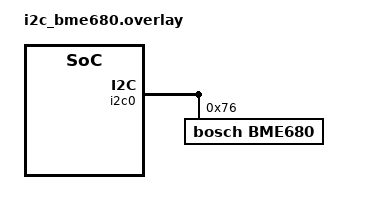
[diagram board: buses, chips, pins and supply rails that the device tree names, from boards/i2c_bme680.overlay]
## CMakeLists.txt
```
cmake_minimum_required(VERSION 3.20.0)

include(${CMAKE_CURRENT_SOURCE_DIR}/../../common/pstate_dt.cmake)

# ==================== ZEPHYR PROJECT SETUP ==================
find_package(Zephyr REQUIRED HINTS $ENV{ZEPHYR_BASE})
project(alif_i2c)

# ==================== TEST CONFIGURATION ============
# Tests are now controlled via Kconfig (CONFIG_I2C_*_TESTS)

# ==================== SOURCE FILE DEFINITIONS ===============
set(I2C_CORE_SOURCES
  src/test_i2c.c
)

set(I2C_PERFORMANCE_SOURCES
  src/test_i2c_performance.c
)

set(I2C_BOUNDARY_SOURCES
  src/test_i2c_boundary.c
)

set(I2C_HARDWARE_AWARE_SOURCES
  src/test_i2c_hardware_aware.c
)

set(I2C_FAULT_INJECTION_SOURCES
  src/test_i2c_fault_injection.c
)

set(I2C_STRESS_SOURCES
  src/test_i2c_stress.c
)

set(I2C_SENSOR_SOURCES
  src/test_i2c_sensor.c
)
# ==================== CORE TEST BUILD =======================
# Core tests require both i2c_controller and i2c_target DT aliases.
# Sensor tests are self-contained and only need i2c_controller.
if(NOT CONFIG_I2C_SENSOR_TESTS)
  target_sources(app PRIVATE ${I2C_CORE_SOURCES})
endif()

target_sources_ifdef(CONFIG_ALIF_CPU_FREQ_PSTATE app PRIVATE
		     ../../common/pstate_main.c)
# ==================== CONDITIONAL TEST SUITES ===============
# Include test suites based on Kconfig settings
if(CONFIG_I2C_PERFORMANCE_TESTS)
  target_sources(app PRIVATE ${I2C_PERFORMANCE_SOURCES})
endif()

if(CONFIG_I2C_BOUNDARY_TESTS)
  target_sources(app PRIVATE ${I2C_BOUNDARY_SOURCES})
endif()

if(CONFIG_I2C_HARDWARE_AWARE_TESTS)
  target_sources(app PRIVATE ${I2C_HARDWARE_AWARE_SOURCES})
endif()

if(CONFIG_I2C_FAULT_INJECTION_TESTS)
  target_sources(app PRIVATE ${I2C_FAULT_INJECTION_SOURCES})
endif()

if(CONFIG_I2C_STRESS_TESTS OR CONFIG_I2C_ENHANCED_STRESS)
  target_sources(app PRIVATE ${I2C_STRESS_SOURCES})
endif()

if(CONFIG_I2C_SENSOR_TESTS)
  target_sources(app PRIVATE ${I2C_SENSOR_SOURCES})
endif()

# ==================== COMPILATION FLAGS ====================
# Enable additional diagnostics for debug builds
if(CMAKE_BUILD_TYPE STREQUAL "Debug")
  target_compile_options(app PRIVATE -Wall -Wextra -Werror)
endif()

# ==================== VALIDATION MESSAGES ====================
message(STATUS "  Test Type: I2C Driver Validation")
message(STATUS "  Hardware Overlay: ${DTC_OVERLAY_FILE}")

if(CONFIG_I2C_PERFORMANCE_TESTS)
  message(STATUS "  Enabled: Performance Tests")
endif()

if(CONFIG_I2C_BOUNDARY_TESTS)
  message(STATUS "  Enabled: Boundary Tests")
endif()

if(CONFIG_I2C_HARDWARE_AWARE_TESTS)
  message(STATUS "  Enabled: Hardware-Aware Tests")
endif()

if(CONFIG_I2C_FAULT_INJECTION_TESTS)
  message(STATUS "  Enabled: Fault Injection Tests")
endif()

if(CONFIG_I2C_STRESS_TESTS)
  message(STATUS "  Enabled: Basic Stress Tests")
endif()

if(CONFIG_I2C_ENHANCED_STRESS)
  message(STATUS "  Enabled: Enhanced Stress Tests")
endif()

if(CONFIG_I2C_SENSOR_TESTS)
  message(STATUS "  Enabled: Sensor Integration Tests")
endif()
```

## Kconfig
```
#Copyright Alif Semiconductor - All Rights Reserved.
#Use, distribution and modification of this code is permitted under the
#terms stated in the Alif Semiconductor Software License Agreement
#
#You should have received a copy of the Alif Semiconductor Software
#License Agreement with this file.If not, please write to:
#contact @alifsemi.com, or visit : https: // alifsemi.com/license

menu "Alif I2C test options"

#-- -- -- -- -- -- -- -- -- -- -- -- -- -- -- -- -- -- -- -- -- -- -- -- -- -- -- -- -- -- -- -- -- -- -- -- -- -
#Comprehensive test selection
#-- -- -- -- -- -- -- -- -- -- -- -- -- -- -- -- -- -- -- -- -- -- -- -- -- -- -- -- -- -- -- -- -- -- -- -- -- -
config I2C_ALL_TESTS
	bool "Enable all I2C test suites"
	select I2C_PERFORMANCE_TESTS
	select I2C_BOUNDARY_TESTS
	select I2C_HARDWARE_AWARE_TESTS
	select I2C_FAULT_INJECTION_TESTS
	select I2C_STRESS_TESTS
	help
		Enable all available I2C test suites for comprehensive validation.
		When enabled, this automatically selects all individual test configs
		including performance tests, boundary tests, hardware-aware tests,
		fault injection tests, and stress tests. BME680 sensor integration
		tests are excluded because they require external hardware.

#-- -- -- -- -- -- -- -- -- -- -- -- -- -- -- -- -- -- -- -- -- -- -- -- -- -- -- -- -- -- -- -- -- -- -- -- -- -
#Frequency selection for multi-frequency test execution
#-- -- -- -- -- -- -- -- -- -- -- -- -- -- -- -- -- -- -- -- -- -- -- -- -- -- -- -- -- -- -- -- -- -- -- -- -- -
config I2C_TEST_FREQ_STANDARD
	bool "Enable Standard speed (100kHz) tests"
	default y
	help
		Enable Standard mode (100 kHz) I2C frequency testing.

		When enabled, this includes Standard mode in multi-frequency test
		loops, allowing transfer-bearing tests to execute at this speed.
		Standard mode is the most widely supported I2C speed and
		should be enabled for comprehensive compatibility testing.

config I2C_TEST_FREQ_FAST
	bool "Enable Fast speed (400kHz) tests"
	default y
	help
		Enable Fast mode (400 kHz) I2C frequency testing.

		When enabled, this includes Fast mode in multi-frequency test
		loops, allowing transfer-bearing tests to execute at this speed.
		Fast mode provides higher throughput than Standard mode and is
		commonly used in applications requiring faster data transfer.

config I2C_TEST_FREQ_FAST_PLUS
	bool "Enable Fast Plus speed (1MHz) tests"
	default n
	help
		Include Fast Plus mode (1 MHz) in multi-frequency test loops.
		When enabled, transfer-bearing tests will execute at this speed.
		Boards/drivers can disable this if the hardware does not support
		1 MHz operation.

config I2C_TEST_FREQ_HIGH
	bool "Enable High speed (3.4MHz) tests"
	default n
	help
		Include High Speed mode (3.4 MHz) in multi-frequency test loops.
		When enabled, transfer-bearing tests will execute at this speed.
		Most hardware does not support 3.4 MHz; disable via extra_configs
		or board configuration if unsupported.

#-- -- -- -- -- -- -- -- -- -- -- -- -- -- -- -- -- -- -- -- -- -- -- -- -- -- -- -- -- -- -- -- -- -- -- -- -- -
#Stress testing options
#-- -- -- -- -- -- -- -- -- -- -- -- -- -- -- -- -- -- -- -- -- -- -- -- -- -- -- -- -- -- -- -- -- -- -- -- -- -
config I2C_STRESS_TESTS
	bool "Enable stress testing suite"
	help
		Enable basic stress testing with restart condition validation
		and callback integrity checks. This provides comprehensive stress
		validation without automatic error injection or enhanced timing
		validation. For complete stress testing with bug detection,
		enable I2C_ENHANCED_STRESS instead.

config I2C_ENHANCED_STRESS
	bool "Enable enhanced stress testing with bug detection"
	select I2C_ERROR_INJECTION
	help
		Enable configurable stress testing with timing validation,
		error injection, and comprehensive bug detection metrics.
		When enabled, this runs the enhanced stress test suite with
		automatic error injection enabled for robust validation.

config I2C_ERROR_INJECTION
	bool "Enable error injection during enhanced stress tests"
	default n
	help
		Enable deliberate timing perturbations during the enhanced
		stress suite. This symbol is auto-selected by
		CONFIG_I2C_ENHANCED_STRESS to preserve the current test
		behavior while removing Kconfig warnings for an undefined
		symbol.

config I2C_STRESS_LOOPS
	int "Number of stress test iterations"
	depends on I2C_ENHANCED_STRESS
	default 1000
	help
		Number of iterations for stress tests. Higher values provide
		more thorough validation but increase test duration.

config I2C_STRESS_TIMEOUT
	int "Stress test timeout in milliseconds"
	depends on I2C_ENHANCED_STRESS
	default 300
	help
		Maximum time allowed for stress test completion. Tests will
		fail if they exceed this timeout.

#-- -- -- -- -- -- -- -- -- -- -- -- -- -- -- -- -- -- -- -- -- -- -- -- -- -- -- -- -- -- -- -- -- -- -- -- -- -
#Individual test suite selection
#-- -- -- -- -- -- -- -- -- -- -- -- -- -- -- -- -- -- -- -- -- -- -- -- -- -- -- -- -- -- -- -- -- -- -- -- -- -
config I2C_PERFORMANCE_TESTS
	bool "Enable performance testing suite"
	default n
	help
		Enable performance tests that validate I2C throughput and
		latency at different bus speeds (standard, fast, fast-plus, high).
		When enabled, this runs the complete performance test suite with
		all speed configurations.

config I2C_BOUNDARY_TESTS
	bool "Enable boundary condition testing"
	default n
	help
		Enable boundary condition tests that validate edge cases,
		maximum sizes, and critical data patterns. When enabled,
		this runs FIFO, register configuration, timing, and data pattern
		boundary tests.

config I2C_HARDWARE_AWARE_TESTS
	bool "Enable hardware-specific testing"
	default n
	help
		Enable hardware-aware tests that validate platform-specific
		behavior and timing characteristics. When enabled, this runs
		interrupt handling, clock stretching, signal integrity, and DMA
		interaction tests.

config I2C_FAULT_INJECTION_TESTS
	bool "Enable fault injection testing"
	default n
	help
		Enable fault injection tests that validate error handling
		and recovery mechanisms under various failure conditions.
		When enabled, this runs the fault injection test suite.

		Note: This is independent from I2C_ENHANCED_STRESS.
		I2C_FAULT_INJECTION_TESTS focuses on specific fault scenarios,
		while I2C_ENHANCED_STRESS provides comprehensive stress testing.
#-- -- -- -- -- -- -- -- -- -- -- -- -- -- -- -- -- -- -- -- -- -- -- -- -- -- -- -- -- -- -- -- -- -- -- -- -- -
#Sensor integration tests (self-contained, do not need i2c_target)
#-- -- -- -- -- -- -- -- -- -- -- -- -- -- -- -- -- -- -- -- -- -- -- -- -- -- -- -- -- -- -- -- -- -- -- -- -- -
config I2C_SENSOR_TESTS
	bool "Enable I2C sensor integration tests"
	default n
	help
		Enable I2C sensor integration tests. The test suite
		auto-detects which sensors are present in the devicetree
		and runs tests for all of them. Add sensor-specific DT
		overlays to include particular sensors.sensor-only builds.
endmenu

rsource "../../common/Kconfig.pstate"

source "Kconfig.zephyr"
```

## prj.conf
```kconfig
# Copyright Alif Semiconductor - All Rights Reserved.
# Use, distribution and modification of this code is permitted under the
# terms stated in the Alif Semiconductor Software License Agreement
#
# You should have received a copy of the Alif Semiconductor Software
# License Agreement with this file. If not, please write to:
# contact@alifsemi.com, or visit: https://alifsemi.com/license


CONFIG_I2C_TARGET=y
CONFIG_I2C=y
CONFIG_ZTEST=y
CONFIG_LOG=n
CONFIG_ZTEST_STACK_SIZE=16384
CONFIG_STDOUT_CONSOLE=y
CONFIG_I2C_TARGET_BUFFER_MODE=n
CONFIG_POLL=y
```

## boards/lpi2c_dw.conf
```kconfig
# DesignWare I2C configuration for LPI2C1 tests
CONFIG_I2C_DW=y
CONFIG_I2C_DW_CLOCK_SPEED=160
```

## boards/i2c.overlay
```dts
/* Copyright Alif Semiconductor - All Rights Reserved.
 * Use, distribution and modification of this code is permitted under the
 * terms stated in the Alif Semiconductor Software License Agreement
 *
 * You should have received a copy of the Alif Semiconductor Software
 * License Agreement with this file. If not, please write to:
 * contact@alifsemi.com, or visit: https://alifsemi.com/license
 */

/* Base I2C validation overlay with default 100kHz clock
 * Configures dual I2C controllers for controller/target validation
 * Supports restart condition testing and comprehensive stress validation
 */

#include "pstate_common.overlay"

/ {
	aliases {
		i2c-controller = &i2c0;
		i2c-target = &i2c1;
	};
};

&i2c0 {
	status = "okay";
	/* Controller for restart condition validation */
};

&i2c1 {
	status = "okay";
	/* Target for target mode callback validation */
};
```

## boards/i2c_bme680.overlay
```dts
/* Copyright Alif Semiconductor - All Rights Reserved.
 * Use, distribution and modification of this code is permitted under the
 * terms stated in the Alif Semiconductor Software License Agreement
 *
 * You should have received a copy of the Alif Semiconductor Software
 * License Agreement with this file. If not, please write to:
 * contact@alifsemi.com, or visit: https://alifsemi.com/license
 */

/* BME680 sensor integration for I2C validation
 * Adds BME680 sensor to i2c0 instance at address 0x76
 * Used for sensor integration testing and validation
 */

&i2c0 {
	status = "okay";
	bme680@76 {
		compatible = "bosch,bme680";
		reg = <0x76>;
	};
};
```

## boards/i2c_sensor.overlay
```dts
/* Copyright Alif Semiconductor - All Rights Reserved.
 * Use, distribution and modification of this code is permitted under the
 * terms stated in the Alif Semiconductor Software License Agreement
 *
 * You should have received a copy of the Alif Semiconductor Software
 * License Agreement with this file. If not, please write to:
 * contact@alifsemi.com, or visit: https://alifsemi.com/license
 */

/* BME680 sensor integration for I2C validation
 * Adds BME680 sensor to i2c0 instance at address 0x76
 * Used for sensor integration testing and validation
 */

#include "pstate_common.overlay"

&i2c0 {
	status = "okay";
	bme680@76 {
		compatible = "bosch,bme680";
		reg = <0x76>;
	};
};
```

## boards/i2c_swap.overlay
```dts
/* Copyright Alif Semiconductor - All Rights Reserved.
 * Use, distribution and modification of this code is permitted under the
 * terms stated in the Alif Semiconductor Software License Agreement
 *
 * You should have received a copy of the Alif Semiconductor Software
 * License Agreement with this file. If not, please write to:
 * contact@alifsemi.com, or visit: https://alifsemi.com/license
 */

/* I2C controller swap overlay for validation testing
 * Swaps controller/target assignments: i2c1 becomes controller, i2c0 becomes target
 * Used for cross-validation and controller role testing
 */

/ {
	aliases {
		i2c-controller = &i2c1;
		i2c-target = &i2c0;
	};
};

&i2c0 {
	status = "okay";
	/* Target in swapped configuration */
};

&i2c1 {
	status = "okay";
	/* Controller in swapped configuration */
};
```

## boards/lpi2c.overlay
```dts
/* Copyright Alif Semiconductor - All Rights Reserved.
 * Use, distribution and modification of this code is permitted under the
 * terms stated in the Alif Semiconductor Software License Agreement
 *
 * You should have received a copy of the Alif Semiconductor Software
 * License Agreement with this file. If not, please write to:
 * contact@alifsemi.com, or visit: https://alifsemi.com/license
 */

/* LPI2C controller validation overlay
 * Configures LPI2C1 as controller and I2C0 as target
 * Used for LPI2C-specific validation and testing
 */

/ {
	aliases {
		i2c-controller = &lpi2c1;
		i2c-target = &i2c0;
	};
};

&i2c0 {
	status = "okay";
	/* Target for LPI2C validation */
};

&lpi2c1 {
	status = "okay";
	/* LPI2C controller */
};
```

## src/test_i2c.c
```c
/* Copyright Alif Semiconductor - All Rights Reserved.
 * Use, distribution and modification of this code is permitted under the
 * terms stated in the Alif Semiconductor Software License Agreement
 *
 * You should have received a copy of the Alif Semiconductor Software
 * License Agreement with this file. If not, please write to:
 * contact@alifsemi.com, or visit: https://alifsemi.com/license
 */

#include "test_i2c.h"
#include "zephyr/drivers/i2c.h"
#include "zephyr/linker/section_tags.h"
#include "zephyr/toolchain.h"
#include <zephyr/pm/device.h>
LOG_MODULE_REGISTER(alif_i2c_test, LOG_LEVEL_INF);

/* Async completion signal and event (CONFIG_I2C_CALLBACK) */
#if IS_ENABLED(CONFIG_I2C_CALLBACK)
struct k_poll_signal i2c_async_sig;
struct k_poll_event i2c_async_evt;
#endif

/* Expected target receive buffer size */
static uint32_t tgt_rx_expected = BUFF_SIZE;

/* Global test context instance */
struct i2c_test_ctx i2c_test_ctx;

static void prepare_target_rx(uint32_t expected_len);

void i2c_prepare_target_rx(uint32_t expected_len)
{
	prepare_target_rx(expected_len);
}

int i2c_validate_data_match(const uint8_t *expected, const uint8_t *actual,
				size_t len, const char *context)
{
	/* Enhanced validation with detailed diagnostics */
	if (len == 0) {
		LOG_DBG("%s: zero-length validation", context);
		return 0;
	}

	for (size_t i = 0; i < len; i++) {
		if (expected[i] != actual[i]) {
			LOG_ERR("%s mismatch at idx %zu: exp 0x%02X got 0x%02X",
				context, i, expected[i], actual[i]);

			/* Detect poison pattern - indicates
			 * uninitialized data usage
			 */
			if (actual[i] == 0x5A || actual[i] == 0xA5) {
				LOG_ERR("%s: UNINIT (poison 0x%02X) idx %zu",
					context, actual[i], i);
			}
			return -EIO;
		}
	}
	LOG_DBG("%s: %zu bytes validated successfully", context, len);
	return 0;
}

/**
 * @brief Prime target TX/RX buffers before a transfer.
 *
 * Poison TX with 0x5A so an uninitialized read is detectable;
 * copy expected read data into target TX if supplied.
 */
void i2c_test_prime_buffers(const uint8_t *read_data, size_t read_len,
				size_t expected_write_len)
{
	size_t copy_len = MIN(read_len, sizeof(i2c_test_ctx.tgt_tx_data));
	size_t i;

	i2c_test_ctx.tgt_tx_cnt = 0U;

	poison_buffer(i2c_test_ctx.tgt_tx_data,
		      sizeof(i2c_test_ctx.tgt_tx_data), 0x5A);

	if ((read_data != NULL) && (copy_len > 0U)) {
		for (i = 0U; i < copy_len; i++) {
			i2c_test_ctx.tgt_tx_data[i] = read_data[i];
		}
	}

	prepare_target_rx(expected_write_len);
}

static void prepare_target_rx(uint32_t expected_len)
{
	tgt_rx_expected = MIN(expected_len, (uint32_t)BUFF_PERF);
#ifdef CONFIG_I2C_TARGET_BUFFER_MODE
	tgt_rx_expected = MIN(tgt_rx_expected,
			    (uint32_t)CONFIG_I2C_TAR_DATA_BUF_MAX_LEN);
#endif

	/* Poison RX buffer to detect uninitialized data usage */
	poison_buffer(i2c_test_ctx.tgt_rx_data,
		      sizeof(i2c_test_ctx.tgt_rx_data), 0xA5);
	i2c_test_ctx.tgt_rx_cnt = 0U;
}

int validate_target_rx(const uint8_t *tx_data, size_t expected_len)
{
	int ret;
	size_t actual_expected = MIN(expected_len, (size_t)tgt_rx_expected);

	if (i2c_test_ctx.tgt_rx_cnt != actual_expected) {
		LOG_ERR("I2C target RX count %u, expected %zu",
			i2c_test_ctx.tgt_rx_cnt, actual_expected);
		return -EIO;
	}

	ret = i2c_validate_data_match(tx_data, i2c_test_ctx.tgt_rx_data,
					  actual_expected,
					  "I2C Controller TX -> Target RX");
	if (ret != 0) {
		return ret;
	}

	LOG_DBG("I2C controller TX and target RX data match");
	return 0;
}

int validate_controller_rx(const uint8_t *expected_data, const uint8_t *rx_data,
			   size_t expected_len)
{
	int ret;

	ret = i2c_validate_data_match(expected_data, rx_data, expected_len,
				  "I2C Target TX -> Controller RX");
	if (ret != 0) {
		return ret;
	}

	LOG_DBG("I2C target TX and controller RX data match");
	return 0;
}

/*
 * Sync / async dispatcher
 */

void i2c_test_async_init(void)
{
#if IS_ENABLED(CONFIG_I2C_CALLBACK)
	k_poll_signal_init(&i2c_async_sig);
	k_poll_event_init(&i2c_async_evt, K_POLL_TYPE_SIGNAL,
			  K_POLL_MODE_NOTIFY_ONLY, &i2c_async_sig);
#endif
}

int i2c_do_xfer(const struct device *dev, struct i2c_msg *msgs,
		uint8_t num_msgs, uint16_t addr, bool async)
{
	if (!async) {
		return i2c_transfer(dev, msgs, num_msgs, addr);
	}

#if IS_ENABLED(CONFIG_I2C_CALLBACK)
	int ret;

	k_poll_signal_reset(&i2c_async_sig);
	i2c_async_evt.signal->signaled = 0U;
	i2c_async_evt.state = K_POLL_STATE_NOT_READY;

	ret = i2c_transfer_signal(dev, msgs, num_msgs, addr, &i2c_async_sig);
	if (ret != 0) {
		return ret;
	}

	ret = k_poll(&i2c_async_evt, 1, K_MSEC(1000));
	if (ret != 0) {
		LOG_ERR("async poll timeout");
		return -ETIMEDOUT;
	}
	return i2c_async_sig.result;
#else
	ARG_UNUSED(dev);
	ARG_UNUSED(msgs);
	ARG_UNUSED(num_msgs);
	ARG_UNUSED(addr);
	return -ENOTSUP;
#endif
}

/* Target callback functions */

static int cb_i2c_target_write_requested(struct i2c_target_config *config)
{
	ARG_UNUSED(config);
	/* Do NOT reset tgt_rx_cnt here — it is reset by prepare_target_rx()
	 * (called from i2c_test_prime_buffers) and by
	 * i2c_test_reset_runtime_config() in the before() hook.
	 * Resetting here breaks repeated-START write-write transfers
	 * because write_requested fires again after Sr, discarding
	 * the first phase's accumulated count.
	 */
	return 0;
}

static int cb_i2c_target_stop(struct i2c_target_config *config)
{
	ARG_UNUSED(config);
	return 0;
}

#ifndef CONFIG_I2C_TARGET_BUFFER_MODE
static int cb_i2c_target_read_requested(struct i2c_target_config *config,
					uint8_t *val)
{
	ARG_UNUSED(config);
	if (i2c_test_ctx.tgt_tx_cnt >= BUFF_PERF) {
		i2c_test_ctx.tgt_tx_cnt = 0;
	}
	*val = i2c_test_ctx.tgt_tx_data[i2c_test_ctx.tgt_tx_cnt++];
	LOG_DBG("read_requested: first byte 0x%02X", *val);
	return 0;
}

static int cb_i2c_target_write_received(struct i2c_target_config *config,
					uint8_t val)
{
	ARG_UNUSED(config);
	if (i2c_test_ctx.tgt_rx_cnt < tgt_rx_expected) {
		i2c_test_ctx.tgt_rx_data[i2c_test_ctx.tgt_rx_cnt++] = val;
		LOG_DBG("Target RX [%u]: 0x%02X (total: %u)",
			i2c_test_ctx.tgt_rx_cnt - 1, val,
			i2c_test_ctx.tgt_rx_cnt);
	} else {
		LOG_DBG("NACKing extra byte 0x%02X", val);
		return -ENOMEM;     /* tells controller to NACK */
	}
	return 0;
}

static int cb_i2c_target_read_processed(struct i2c_target_config *config,
					uint8_t *val)
{
	ARG_UNUSED(config);
	if (i2c_test_ctx.tgt_tx_cnt >= BUFF_PERF) {
		i2c_test_ctx.tgt_tx_cnt = 0;
	}
	*val = i2c_test_ctx.tgt_tx_data[i2c_test_ctx.tgt_tx_cnt++];
	LOG_DBG("read_processed: next byte 0x%02X (idx %u)", *val,
		i2c_test_ctx.tgt_tx_cnt - 1U);
	return 0;
}
#endif

#ifdef CONFIG_I2C_TARGET_BUFFER_MODE
static int cb_i2c_target_buf_read_requested(struct i2c_target_config *config,
						uint8_t **val, uint32_t *len)
{
	ARG_UNUSED(config);

	*val = i2c_test_ctx.tgt_tx_data;
	*len = MIN((uint32_t)BUFF_PERF,
		   (uint32_t)CONFIG_I2C_TAR_DATA_BUF_MAX_LEN);
	return 0;
}

static void cb_i2c_target_buf_write_received(
	struct i2c_target_config *config,
	uint8_t *data_buf,
	uint32_t len)
{
	uint32_t copy_len;

	ARG_UNUSED(config);

	copy_len = MIN(len, tgt_rx_expected);
	memcpy(i2c_test_ctx.tgt_rx_data, data_buf, copy_len);
	i2c_test_ctx.tgt_rx_cnt = copy_len;
}
#endif

static const struct i2c_target_callbacks i2c_t_cb = {
	.write_requested = &cb_i2c_target_write_requested,
#ifdef CONFIG_I2C_TARGET_BUFFER_MODE
	.buf_read_requested = &cb_i2c_target_buf_read_requested,
	.buf_write_received = &cb_i2c_target_buf_write_received,
#else
	.read_requested = &cb_i2c_target_read_requested,
	.write_received = &cb_i2c_target_write_received,
	.read_processed = &cb_i2c_target_read_processed,
#endif
	.stop = &cb_i2c_target_stop,
};

struct i2c_target_config i2c_tcfg = {
	.callbacks = &i2c_t_cb,
};

/*
 * Perform a bidirectional I2C transfer: the controller writes
 * random data to the target and then reads back from it.
 * Data integrity is validated for both directions.
 */

int start_i2c_transceive(bool async)
{
	uint8_t tx_data[BUFF_SIZE];
	uint8_t rx_data[BUFF_SIZE];
	int ret;
	struct i2c_msg msgs[2];
	const struct device *const i2c_controller_dev = i2c_test_ctx.controller_dev;

	i2c_test_ctx.tgt_tx_cnt = 0;
	prepare_target_rx(BUFF_SIZE);

	/* Use current context config, ensure controller mode */
	if ((i2c_test_ctx.i2c_cfg & I2C_MODE_CONTROLLER) == 0U) {
		i2c_test_ctx.i2c_cfg |= I2C_MODE_CONTROLLER;
	}

	ret = i2c_configure(i2c_controller_dev, i2c_test_ctx.i2c_cfg);
	zassert_equal(ret, 0, "I2C controller config failed");

	/* Use distinct random patterns: controller TX != target TX */
	fill_buffer_random(tx_data, BUFF_SIZE, SEED_CONTROLLER_TX);
	fill_target_tx_distinct(i2c_test_ctx.tgt_tx_data, BUFF_SIZE,
				   SEED_TARGET_TX);
	/* Poison controller RX to detect uninitialized reads */
	poison_buffer(rx_data, BUFF_SIZE, POISON_RX);

	/* Setup i2c messages */
	msgs[0].buf = tx_data;
	msgs[0].len = BUFF_SIZE;
	msgs[0].flags = I2C_MSG_WRITE | I2C_MSG_STOP;

	msgs[1].buf = rx_data;
	msgs[1].len = BUFF_SIZE;
	msgs[1].flags = I2C_MSG_READ | I2C_MSG_STOP;

	/* Writing data from Controller to Target */
	ret = i2c_do_xfer(i2c_controller_dev, &msgs[0], 1, TGT_I2C_ADDR, async);
	zassert_equal(ret, 0, "I2C write transfer failed: %d", ret);

	ret = validate_target_rx(tx_data, BUFF_SIZE);
	if (ret) {
		return ret;
	}

	/* Reading data from Target by controller */
	ret = i2c_do_xfer(i2c_controller_dev, &msgs[1], 1, TGT_I2C_ADDR, async);
	zassert_equal(ret, 0, "I2C read transfer failed: %d", ret);

	ret = validate_controller_rx(i2c_test_ctx.tgt_tx_data, rx_data, BUFF_SIZE);
	if (ret) {
		return ret;
	}

	return 0;
}

int start_i2c_transmit(bool async)
{
	uint8_t tx_data[BUFF_SIZE];
	int ret;
	struct i2c_msg msgs[1];
	const struct device *const i2c_controller_dev = i2c_test_ctx.controller_dev;

	/* Use current context config, ensure controller mode */
	if ((i2c_test_ctx.i2c_cfg & I2C_MODE_CONTROLLER) == 0U) {
		i2c_test_ctx.i2c_cfg |= I2C_MODE_CONTROLLER;
	}
	i2c_test_ctx.tgt_tx_cnt = 0;
	prepare_target_rx(BUFF_SIZE);

	ret = i2c_configure(i2c_controller_dev, i2c_test_ctx.i2c_cfg);
	zassert_equal(ret, 0, "I2C controller config failed");

	/* Use distinct random pattern for controller TX */
	fill_buffer_random(tx_data, BUFF_SIZE, SEED_CONTROLLER_TX);

	msgs[0].buf = tx_data;
	msgs[0].len = BUFF_SIZE;
	msgs[0].flags = I2C_MSG_WRITE | I2C_MSG_STOP;

	/* Writing data from Controller to Target */
	ret = i2c_do_xfer(i2c_controller_dev, &msgs[0], 1, TGT_I2C_ADDR, async);
	zassert_equal(ret, 0, "I2C write transfer failed: %d", ret);

	ret = validate_target_rx(tx_data, BUFF_SIZE);
	if (ret) {
		return ret;
	}

	return 0;
}

int start_i2c_receive(bool async)
{
	uint8_t rx_data[BUFF_SIZE];
	int ret;
	struct i2c_msg msgs[1];
	const struct device *const i2c_controller_dev = i2c_test_ctx.controller_dev;

	/* Use current context config, ensure controller mode */
	if ((i2c_test_ctx.i2c_cfg & I2C_MODE_CONTROLLER) == 0U) {
		i2c_test_ctx.i2c_cfg |= I2C_MODE_CONTROLLER;
	}
	i2c_test_ctx.tgt_tx_cnt = 0;
	ret = i2c_configure(i2c_controller_dev, i2c_test_ctx.i2c_cfg);
	zassert_equal(ret, 0, "I2C controller config failed");

	/* Use distinct random pattern for target TX */
	fill_target_tx_distinct(i2c_test_ctx.tgt_tx_data, BUFF_SIZE,
				   SEED_TARGET_TX);

	/* Poison controller RX to detect uninitialized reads */
	poison_buffer(rx_data, BUFF_SIZE, POISON_RX);

	msgs[0].buf = rx_data;
	msgs[0].len = BUFF_SIZE;
	msgs[0].flags = I2C_MSG_READ | I2C_MSG_STOP;

	/* Reading data from Target by controller */
	ret = i2c_do_xfer(i2c_controller_dev, &msgs[0], 1, TGT_I2C_ADDR, async);
	zassert_equal(ret, 0, "I2C read transfer failed: %d", ret);

	ret = validate_controller_rx(i2c_test_ctx.tgt_tx_data, rx_data, BUFF_SIZE);
	if (ret) {
		return ret;
	}

	return 0;
}

int start_10bit_i2c_transfer(bool async)
{
	uint8_t tx_data[BUFF_SIZE];
	uint8_t rx_data[BUFF_SIZE];
	int ret;
	struct i2c_msg msgs[2];
	const struct device *const i2c_controller_dev = i2c_test_ctx.controller_dev;

	i2c_test_ctx.tgt_tx_cnt = 0;
	prepare_target_rx(BUFF_SIZE);

	/* Use current context config, ensure controller mode and
	 * 10-bit addressing
	 */
	if ((i2c_test_ctx.i2c_cfg & I2C_MODE_CONTROLLER) == 0U) {
		i2c_test_ctx.i2c_cfg |= I2C_MODE_CONTROLLER;
	}
	i2c_test_ctx.i2c_cfg |= I2C_ADDR_10_BITS;

	ret = i2c_configure(i2c_controller_dev, i2c_test_ctx.i2c_cfg);
	zassert_equal(ret, 0, "I2C controller config failed");

	/* Use distinct random patterns: controller TX != target TX */
	fill_buffer_random(tx_data, BUFF_SIZE, SEED_CONTROLLER_TX);
	fill_target_tx_distinct(i2c_test_ctx.tgt_tx_data, BUFF_SIZE,
				   SEED_TARGET_TX);

	/* Poison controller RX to detect uninitialized reads */
	poison_buffer(rx_data, BUFF_SIZE, POISON_RX);

	msgs[0].buf = tx_data;
	msgs[0].len = BUFF_SIZE;
	msgs[0].flags = I2C_MSG_WRITE | I2C_MSG_STOP | I2C_MSG_ADDR_10_BITS;

	msgs[1].buf = rx_data;
	msgs[1].len = BUFF_SIZE;
	msgs[1].flags = I2C_MSG_READ | I2C_MSG_STOP | I2C_MSG_ADDR_10_BITS;

	/* Writing data from Controller to Target */
	ret = i2c_do_xfer(i2c_controller_dev, &msgs[0], 1, TGT_I2C_10BITADDR, async);
	zassert_equal(ret, 0, "10-bit I2C write failed: %d", ret);

	ret = validate_target_rx(tx_data, BUFF_SIZE);
	if (ret) {
		return ret;
	}

	/* Reading data from Target by controller */
	ret = i2c_do_xfer(i2c_controller_dev, &msgs[1], 1, TGT_I2C_10BITADDR, async);
	zassert_equal(ret, 0, "10-bit I2C read failed: %d", ret);

	ret = validate_controller_rx(i2c_test_ctx.tgt_tx_data, rx_data, BUFF_SIZE);
	if (ret) {
		return ret;
	}

	return 0;
}

/*
 * Registering the i2c instance as target
 * passing the i2c_target_config structure with call back apis
 */

void register_target_i2c_common(uint32_t i2c_cfg, uint16_t addr, uint8_t flags)
{
	int ret;
	const struct device *const i2c_target_dev = i2c_test_ctx.target_dev;

	/* Check if target is already registered and unregister properly */
	if (i2c_test_ctx.target_registered && i2c_test_ctx.target_dev) {
		LOG_DBG("Target already registered, unregistering first");
		ret = i2c_target_unregister(i2c_test_ctx.target_dev,
					&i2c_tcfg);
		if (ret != 0) {
			LOG_WRN("Target unregister failed: %d", ret);
		}

		i2c_test_ctx.target_registered = false;
		/* Allow time for unregistration to complete */
		k_msleep(10);
	}

	i2c_tcfg.flags = flags;
	i2c_tcfg.address = addr;

	ret = i2c_configure(i2c_target_dev, i2c_cfg);
	zassert_equal(ret, 0, "I2C config failed");

	ret = i2c_target_register(i2c_target_dev, &i2c_tcfg);
	/* ENOTSUP means operation not supported */
	if (ret == -ENOTSUP) {
		LOG_WRN("I2C target mode not supported");
		ztest_test_skip();
	} else {
		zassert_equal(ret, 0, "i2c_target_register failed: %d", ret);
	}

	if (ret == 0) {
		i2c_test_ctx.target_dev = i2c_target_dev;
		i2c_test_ctx.target_registered = true;
		LOG_DBG("Target registered successfully");
	}
}

void register_target_i2c(void)
{
	register_target_i2c_common(I2C_SPEED_SET(I2C_SPEED_STANDARD),
				  TGT_I2C_ADDR, 0);
}

void register_target_speed_i2c(uint32_t i2c_cfg)
{
	register_target_i2c_common(i2c_cfg, TGT_I2C_ADDR, 0);
}

void register_target_i2c_10Bit(uint32_t i2c_cfg)
{
	register_target_i2c_common(i2c_cfg,
				  TGT_I2C_10BITADDR,
				  I2C_TARGET_FLAGS_ADDR_10_BITS);
}

/*
 * Core transfer scenarios (sync / async)
 */

static int sc_transmit(bool async)
{
	struct i2c_test_freq_desc freqs[I2C_TEST_MAX_FREQS];
	int freq_count;
	int fail = 0;

	freq_count = i2c_test_get_enabled_freqs(freqs, ARRAY_SIZE(freqs));

	for (int i = 0; i < freq_count; i++) {
		int ret;

		TC_PRINT("  TX at %s (%u Hz)\n", freqs[i].name,
			 freqs[i].freq_hz);

		ret = i2c_test_configure_controller_freq(
				i2c_test_ctx.controller_dev,
				&i2c_test_ctx, &freqs[i]);
		if (ret == -ENOTSUP) {
			TC_PRINT("  Skipping %s: not supported\n", freqs[i].name);
			continue;
		}
		if (ret != 0) {
			LOG_ERR("Failed to configure %s: %d", freqs[i].name, ret);
			fail++;
			continue;
		}

		register_target_speed_i2c(I2C_SPEED_SET(freqs[i].zephyr_speed));
		ret = start_i2c_transmit(async);
		if (ret != 0) {
			LOG_ERR("I2C transmit failed at %s: %d", freqs[i].name, ret);
			fail++;
		}
	}
	return fail;
}

static int sc_transceive(bool async)
{
	struct i2c_test_freq_desc freqs[I2C_TEST_MAX_FREQS];
	int freq_count;
	int fail = 0;

	freq_count = i2c_test_get_enabled_freqs(freqs, ARRAY_SIZE(freqs));

	for (int i = 0; i < freq_count; i++) {
		int ret;

		TC_PRINT("  7-bit XCV at %s (%u Hz)\n", freqs[i].name,
			 freqs[i].freq_hz);

		ret = i2c_test_configure_controller_freq(
				i2c_test_ctx.controller_dev,
				&i2c_test_ctx, &freqs[i]);
		if (ret == -ENOTSUP) {
			TC_PRINT("  Skipping %s: not supported\n", freqs[i].name);
			continue;
		}
		if (ret != 0) {
			LOG_ERR("Failed to configure %s: %d", freqs[i].name, ret);
			fail++;
			continue;
		}

		register_target_speed_i2c(I2C_SPEED_SET(freqs[i].zephyr_speed));
		ret = start_i2c_transceive(async);
		if (ret != 0) {
			LOG_ERR("7-bit I2C transfer failed at %s: %d",
				freqs[i].name, ret);
			fail++;
		}
	}
	return fail;
}

#ifndef CONFIG_TEST_LPI2C
static int sc_10bit(bool async)
{
	struct i2c_test_freq_desc freqs[I2C_TEST_MAX_FREQS];
	int freq_count;
	int fail = 0;

	freq_count = i2c_test_get_enabled_freqs(freqs, ARRAY_SIZE(freqs));

	for (int i = 0; i < freq_count; i++) {
		int ret;

		TC_PRINT("  10-bit at %s (%u Hz)\n", freqs[i].name,
			 freqs[i].freq_hz);

		ret = i2c_test_configure_controller_freq(
				i2c_test_ctx.controller_dev,
				&i2c_test_ctx, &freqs[i]);
		if (ret == -ENOTSUP) {
			TC_PRINT("  Skipping %s: not supported\n", freqs[i].name);
			continue;
		}
		if (ret != 0) {
			LOG_ERR("Failed to configure %s: %d", freqs[i].name, ret);
			fail++;
			continue;
		}

		register_target_i2c_10Bit(I2C_SPEED_SET(freqs[i].zephyr_speed));
		ret = start_10bit_i2c_transfer(async);
		if (ret != 0) {
			LOG_ERR("10-bit I2C transfer failed at %s: %d",
				freqs[i].name, ret);
			fail++;
		}
	}
	return fail;
}
#endif

static int sc_receive(bool async)
{
	struct i2c_test_freq_desc freqs[I2C_TEST_MAX_FREQS];
	int freq_count;
	int fail = 0;

	freq_count = i2c_test_get_enabled_freqs(freqs, ARRAY_SIZE(freqs));

	for (int i = 0; i < freq_count; i++) {
		int ret;

		TC_PRINT("  CRX/TTX at %s (%u Hz)\n", freqs[i].name,
			 freqs[i].freq_hz);

		ret = i2c_test_configure_controller_freq(
				i2c_test_ctx.controller_dev,
				&i2c_test_ctx, &freqs[i]);
		if (ret == -ENOTSUP) {
			TC_PRINT("  Skipping %s: not supported\n", freqs[i].name);
			continue;
		}
		if (ret != 0) {
			LOG_ERR("Failed to configure %s: %d", freqs[i].name, ret);
			fail++;
			continue;
		}

		register_target_speed_i2c(I2C_SPEED_SET(freqs[i].zephyr_speed));
		ret = start_i2c_receive(async);
		if (ret != 0) {
			LOG_ERR("Receive failed at %s: %d", freqs[i].name, ret);
			fail++;
		}
	}
	return fail;
}

static int sc_nack_recovery(bool async)
{
	struct i2c_test_freq_desc freqs[I2C_TEST_MAX_FREQS];
	const struct device *const i2c_controller_dev = i2c_test_ctx.controller_dev;
	uint8_t tx_data[BUFF_SIZE];
	int freq_count;
	int fail = 0;

	freq_count = i2c_test_get_enabled_freqs(freqs, ARRAY_SIZE(freqs));

	for (int i = 0; i < freq_count; i++) {
		int ret;
		struct i2c_msg msg;

		TC_PRINT("  NACK recovery at %s (%u Hz)\n",
			 freqs[i].name, freqs[i].freq_hz);

		ret = i2c_test_configure_controller_freq(i2c_controller_dev,
							 &i2c_test_ctx, &freqs[i]);
		if (ret == -ENOTSUP) {
			TC_PRINT("  Skipping %s: not supported\n", freqs[i].name);
			continue;
		}
		if (ret != 0) {
			LOG_ERR("Failed to configure %s: %d", freqs[i].name, ret);
			fail++;
			continue;
		}

		register_target_speed_i2c(I2C_SPEED_SET(freqs[i].zephyr_speed));
		fill_buffer(tx_data, sizeof(tx_data));

		/* Write to invalid address to trigger NACK */
		msg.buf = tx_data;
		msg.len = sizeof(tx_data);
		msg.flags = I2C_MSG_WRITE | I2C_MSG_STOP;
		ret = i2c_do_xfer(i2c_controller_dev, &msg, 1,
				  TGT_I2C_ADDR + 1U, false);
		if (ret == 0) {
			LOG_ERR("invalid target address unexpectedly acknowledged");
			fail++;
			continue;
		}

		/* Allow controller to recover from NACK state */
		k_msleep(10);

		ret = start_i2c_transmit(async);
		if (ret != 0) {
			LOG_ERR("controller did not recover after NACK at %s",
				freqs[i].name);
			fail++;
		}
	}
	return fail;
}

/*
 * ZTESTs: one per scenario, sync + async variants
 */

ZTEST(i2c, test_tx_sync)
{
	int fail = sc_transmit(false);

	zassert_equal(fail, 0, "TX sync: %d failure(s)", fail);
}

#if IS_ENABLED(CONFIG_I2C_CALLBACK)
ZTEST(i2c, test_tx_async)
{
	int fail = sc_transmit(true);

	zassert_equal(fail, 0, "TX async: %d failure(s)", fail);
}
#endif

ZTEST(i2c, test_xcv_sync)
{
	int fail = sc_transceive(false);

	zassert_equal(fail, 0, "XCV sync: %d failure(s)", fail);
}

#if IS_ENABLED(CONFIG_I2C_CALLBACK)
ZTEST(i2c, test_xcv_async)
{
	int fail = sc_transceive(true);

	zassert_equal(fail, 0, "XCV async: %d failure(s)", fail);
}
#endif

#ifndef CONFIG_TEST_LPI2C
ZTEST(i2c, test_10bit_sync)
{
	int fail = sc_10bit(false);

	zassert_equal(fail, 0, "10-bit sync: %d failure(s)", fail);
}

#if IS_ENABLED(CONFIG_I2C_CALLBACK)
ZTEST(i2c, test_10bit_async)
{
	int fail = sc_10bit(true);

	zassert_equal(fail, 0, "10-bit async: %d failure(s)", fail);
}
#endif
#endif

ZTEST(i2c, test_rx_sync)
{
	int fail = sc_receive(false);

	zassert_equal(fail, 0, "RX sync: %d failure(s)", fail);
}

#if IS_ENABLED(CONFIG_I2C_CALLBACK)
ZTEST(i2c, test_rx_async)
{
	int fail = sc_receive(true);

	zassert_equal(fail, 0, "RX async: %d failure(s)", fail);
}
#endif

ZTEST(i2c, test_nack_sync)
{
	int fail = sc_nack_recovery(false);

	zassert_equal(fail, 0, "NACK sync: %d failure(s)", fail);
}

#if IS_ENABLED(CONFIG_I2C_CALLBACK)
ZTEST(i2c, test_nack_async)
{
	int fail = sc_nack_recovery(true);

	zassert_equal(fail, 0, "NACK async: %d failure(s)", fail);
}
#endif

static void *i2c_suite_setup(void)
{
	i2c_test_ctx.controller_dev = DEVICE_DT_GET(I2C_CONTROLLER);
	i2c_test_ctx.target_dev = DEVICE_DT_GET(I2C_TARGET);
	i2c_test_ctx.target_registered = false;
	return &i2c_test_ctx;
}

static void i2c_before(void *fixture)
{
	struct i2c_test_ctx *ctx = fixture;

	i2c_test_reset_runtime_config(ctx);
	i2c_test_async_init();
}

static void i2c_after(void *fixture)
{
	struct i2c_test_ctx *ctx = fixture;
	int ret;

	if (!ctx->target_registered) {
		return;
	}

	ret = i2c_target_unregister(ctx->target_dev, &i2c_tcfg);
	/* ENOTSUP means operation not supported */
	if (ret == -ENOTSUP) {
		LOG_WRN("I2C target mode not supported");
	} else {
		zassert_equal(ret, 0,
				  "i2c_target_unregister failed: %d", ret);
	}

	ctx->target_registered = false;
}

ZTEST_SUITE(i2c, NULL, i2c_suite_setup, i2c_before, i2c_after, NULL);
```

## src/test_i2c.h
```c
/* Copyright Alif Semiconductor - All Rights Reserved.
 * Use, distribution and modification of this code is permitted under the
 * terms stated in the Alif Semiconductor Software License Agreement
 *
 * You should have received a copy of the Alif Semiconductor Software
 * License Agreement with this file. If not, please write to:
 * contact@alifsemi.com, or visit: https://alifsemi.com/license
 */

#ifndef ZEPHYR_TESTS_DRIVERS_I2C_SRC_TEST_I2C_H_
#define ZEPHYR_TESTS_DRIVERS_I2C_SRC_TEST_I2C_H_

#include "zephyr/toolchain.h"
#include <zephyr/logging/log.h>
#include <zephyr/dt-bindings/i2c/i2c.h>
#include <zephyr/drivers/i2c.h>
#include <zephyr/kernel.h>
#include <zephyr/ztest.h>
#include <zephyr/device.h>
#include <zephyr/sys/util_macro.h>

#define I2C_CONTROLLER DT_ALIAS(i2c_controller)
#define I2C_TARGET     DT_ALIAS(i2c_target)

#define TGT_I2C_ADDR	  0x50
#define TGT_I2C_10BITADDR 0x223

#define BUFF_SIZE		 4
#define BUFF_PERF		 128

/* Distinct seeds for controller TX and target TX - must never be equal */
#define SEED_CONTROLLER_TX  0xDEAD0001U
#define SEED_TARGET_TX  0xBEEF0002U
#define POISON_RX	   0xA5
#define POISON_TX	   0x5A

/* Runtime frequency switching support */
enum i2c_test_speed {
	I2C_SPEED_STANDARD_KHZ = 100,
	I2C_SPEED_FAST_KHZ = 400,
	I2C_SPEED_FAST_PLUS_KHZ = 1000,
	I2C_SPEED_HIGH_KHZ = 3400,
};

/* Shared frequency descriptor for multi-frequency test execution */
struct i2c_test_freq_desc {
	uint32_t freq_hz;
	uint32_t zephyr_speed;
	enum i2c_test_speed test_speed;
	const char *name;
};

/* Maximum number of supported frequencies */
#define I2C_TEST_MAX_FREQS 4

/* Build-time enabled frequency count and table */
#define I2C_TEST_FREQ_COUNT \
	(IS_ENABLED(CONFIG_I2C_TEST_FREQ_STANDARD) + \
	 IS_ENABLED(CONFIG_I2C_TEST_FREQ_FAST) + \
	 IS_ENABLED(CONFIG_I2C_TEST_FREQ_FAST_PLUS) + \
	 IS_ENABLED(CONFIG_I2C_TEST_FREQ_HIGH))

/* Helper to populate enabled frequencies into a runtime array */
static inline int i2c_test_get_enabled_freqs(struct i2c_test_freq_desc *freqs,
				     size_t max_count)
{
	size_t count = 0;

#if IS_ENABLED(CONFIG_I2C_TEST_FREQ_STANDARD)
	if (count < max_count) {
		freqs[count] = (struct i2c_test_freq_desc){
			.freq_hz = 100000,
			.zephyr_speed = I2C_SPEED_STANDARD,
			.test_speed = I2C_SPEED_STANDARD_KHZ,
			.name = "Standard"
		};
		count++;
	}
#endif

#if IS_ENABLED(CONFIG_I2C_TEST_FREQ_FAST)
	if (count < max_count) {
		freqs[count] = (struct i2c_test_freq_desc){
			.freq_hz = 400000,
			.zephyr_speed = I2C_SPEED_FAST,
			.test_speed = I2C_SPEED_FAST_KHZ,
			.name = "Fast"
		};
		count++;
	}
#endif

#if IS_ENABLED(CONFIG_I2C_TEST_FREQ_FAST_PLUS)
	if (count < max_count) {
		freqs[count] = (struct i2c_test_freq_desc){
			.freq_hz = 1000000,
			.zephyr_speed = I2C_SPEED_FAST_PLUS,
			.test_speed = I2C_SPEED_FAST_PLUS_KHZ,
			.name = "Fast+"
		};
		count++;
	}
#endif

#if IS_ENABLED(CONFIG_I2C_TEST_FREQ_HIGH)
	if (count < max_count) {
		freqs[count] = (struct i2c_test_freq_desc){
			.freq_hz = 3400000,
			.zephyr_speed = I2C_SPEED_HIGH,
			.test_speed = I2C_SPEED_HIGH_KHZ,
			.name = "High"
		};
		count++;
	}
#endif

	return (int)count;
}

/* Shared test context for device state and data buffers */
struct i2c_test_ctx {
	const struct device *controller_dev;
	const struct device *target_dev;
	uint32_t i2c_cfg;
	uint8_t tgt_rx_data[BUFF_PERF];
	uint8_t tgt_tx_data[BUFF_PERF];
	uint32_t tgt_tx_cnt;
	uint32_t tgt_rx_cnt;
	bool target_registered;
	enum i2c_test_speed current_speed;
};

extern struct i2c_test_ctx i2c_test_ctx;

/* Configure controller from frequency descriptor with ENOTSUP skip handling */
static inline int i2c_test_configure_controller_freq(
	const struct device *dev,
	struct i2c_test_ctx *ctx,
	const struct i2c_test_freq_desc *freq)
{
	uint32_t config = I2C_MODE_CONTROLLER |
			  I2C_SPEED_SET(freq->zephyr_speed);
	int ret;

	ret = i2c_configure(dev, config);
	if (ret == 0) {
		ctx->i2c_cfg = config;
		ctx->current_speed = freq->test_speed;
	}

	return ret;
}

/* Test skip helper for insufficient enabled frequencies */
static inline void i2c_test_skip_if_freqs_lt(int required)
{
	if (required > I2C_TEST_FREQ_COUNT) {
		TC_PRINT("Skipping: need %d frequencies, only %d enabled\n",
			 required, I2C_TEST_FREQ_COUNT);
		ztest_test_skip();
	}
}

/* Test skip helper for no frequencies enabled */
static inline void i2c_test_skip_if_no_freqs(void)
{
	if (0 == I2C_TEST_FREQ_COUNT) {
		TC_PRINT("Skipping: no frequencies enabled in Kconfig\n");
		ztest_test_skip();
	}
}

int i2c_validate_data_match(const uint8_t *expected, const uint8_t *actual,
				size_t len, const char *context);
int validate_target_rx(const uint8_t *tx_data, size_t expected_len);
int validate_controller_rx(const uint8_t *expected_data, const uint8_t *rx_data,
			   size_t expected_len);
void i2c_test_prime_buffers(const uint8_t *read_data, size_t read_len,
				size_t expected_write_len);
void register_target_i2c(void);
void register_target_speed_i2c(uint32_t i2c_cfg);
void register_target_i2c_common(uint32_t i2c_cfg, uint16_t addr,
				   uint8_t flags);
void register_target_i2c_10Bit(uint32_t i2c_cfg);
void i2c_prepare_target_rx(uint32_t expected_len);

/* Async transfer infrastructure */
#if IS_ENABLED(CONFIG_I2C_CALLBACK)
extern struct k_poll_signal i2c_async_sig;
extern struct k_poll_event i2c_async_evt;
#endif

int i2c_do_xfer(const struct device *dev, struct i2c_msg *msgs,
		uint8_t num_msgs, uint16_t addr, bool async);
void i2c_test_async_init(void);
static inline void i2c_test_reset_runtime_config(struct i2c_test_ctx *ctx)
{
	/* Reset runtime frequency state */
	ctx->current_speed = I2C_SPEED_STANDARD_KHZ;
	ctx->i2c_cfg = I2C_MODE_CONTROLLER |
			   I2C_SPEED_SET(I2C_SPEED_STANDARD);

	/* Reset data counters */
	ctx->tgt_tx_cnt = 0;
	ctx->tgt_rx_cnt = 0;
	memset(ctx->tgt_rx_data, 0, BUFF_PERF);
	memset(ctx->tgt_tx_data, 0, BUFF_PERF);
}

/* Runtime frequency switching helper */
static inline int i2c_test_set_frequency(struct i2c_test_ctx *ctx,
					 enum i2c_test_speed speed_khz)
{
	uint32_t config = ctx->i2c_cfg;
	int ret;

	/* Extract non-speed bits and set new speed */
	config &= ~I2C_SPEED_MASK;
	switch (speed_khz) {
	case I2C_SPEED_STANDARD_KHZ:
		config |= I2C_SPEED_SET(I2C_SPEED_STANDARD);
		break;
	case I2C_SPEED_FAST_KHZ:
		config |= I2C_SPEED_SET(I2C_SPEED_FAST);
		break;
	case I2C_SPEED_FAST_PLUS_KHZ:
		config |= I2C_SPEED_SET(I2C_SPEED_FAST_PLUS);
		break;
	case I2C_SPEED_HIGH_KHZ:
		config |= I2C_SPEED_SET(I2C_SPEED_HIGH);
		break;
	default:
		return -EINVAL;
	}

	ret = i2c_configure(ctx->controller_dev, config);
	if (ret == 0) {
		ctx->i2c_cfg = config;
		ctx->current_speed = speed_khz;
	}

	return ret;
}

static inline void fill_buffer(uint8_t *buf, size_t size)
{
	for (size_t j = 0; j < size; j++) {
		buf[j] = 0xAA - j;
	}
}

/* Enhanced buffer filling with random patterns for stronger validation */
static inline void fill_buffer_random(uint8_t *buf, size_t size,
					  uint32_t seed)
{
	/* Simple but effective pseudo-random generator */
	for (size_t j = 0; j < size; j++) {
		seed = seed * 1103515245 + 12345;
		buf[j] = (uint8_t)(seed >> 16);
	}
}

/*
 * Fill target TX buffer with a pattern guaranteed different from controller TX.
 * Call this before every read/transceive transfer to ensure real validation.
 */
static inline void fill_target_tx_distinct(uint8_t *buf, size_t size,
					  uint32_t seed)
{
	fill_buffer_random(buf, size, seed);
}

/* Buffer poisoning to detect uninitialized data usage */
static inline void poison_buffer(uint8_t *buf, size_t size,
				 uint8_t poison_value)
{
	memset(buf, poison_value, size);
}

/* Global test context declarations */
extern struct i2c_test_ctx i2c_test_ctx;
extern struct i2c_target_config i2c_tcfg;

#endif /* ZEPHYR_TESTS_DRIVERS_I2C_SRC_TEST_I2C_H_ */
```

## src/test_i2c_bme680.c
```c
/* Copyright Alif Semiconductor - All Rights Reserved.
 * Use, distribution and modification of this code is permitted under the
 * terms stated in the Alif Semiconductor Software License Agreement
 *
 * You should have received a copy of the Alif Semiconductor Software
 * License Agreement with this file. If not, please write to:
 * contact@alifsemi.com, or visit: https://alifsemi.com/license
 */

#include <zephyr/drivers/i2c.h>
#include <zephyr/kernel.h>
#include <zephyr/ztest.h>
#include <zephyr/dt-bindings/i2c/i2c.h>
#include <zephyr/drivers/sensor.h>
#include <zephyr/device.h>

#include "test_i2c.h"

LOG_MODULE_REGISTER(alif_i2c_bme680, LOG_LEVEL_INF);

struct bme680_fixture {
	const struct device *dev;
};

static struct bme680_fixture bme680_fix;

static void *bme680_setup(void)
{
	bme680_fix.dev = DEVICE_DT_GET_ONE(bosch_bme680);
	zassert_true(device_is_ready(bme680_fix.dev),
		     "BME680 device not ready");
	return &bme680_fix;
}

ZTEST_F(i2c_sensor, test_bme680_read)
{
	const struct device *const dev = fixture->dev;
	struct sensor_value temp, press, humidity, gas_res;
	int i = 0;
	int ret;

	LOG_INF("Device %p name is %s", dev, dev->name);
	while (i < 10) {
		k_sleep(K_MSEC(3000));
		ret = sensor_sample_fetch(dev);
		zassert_ok(ret, "sensor_sample_fetch failed: %d", ret);
		ret = sensor_channel_get(dev, SENSOR_CHAN_AMBIENT_TEMP, &temp);
		zassert_ok(ret, "Failed to read temperature: %d", ret);
		ret = sensor_channel_get(dev, SENSOR_CHAN_PRESS, &press);
		zassert_ok(ret, "Failed to read pressure: %d", ret);
		ret = sensor_channel_get(dev, SENSOR_CHAN_HUMIDITY, &humidity);
		zassert_ok(ret, "Failed to read humidity: %d", ret);
		ret = sensor_channel_get(dev, SENSOR_CHAN_GAS_RES, &gas_res);
		zassert_ok(ret, "Failed to read gas resistance: %d", ret);
		LOG_INF("T: %d.%06d; P: %d.%06d; H: %d.%06d; G: %d.%06d",
			temp.val1, temp.val2, press.val1, press.val2,
			humidity.val1, humidity.val2, gas_res.val1, gas_res.val2);
		i++;
	}
}

ZTEST_SUITE(i2c_sensor, NULL, bme680_setup, NULL, NULL, NULL);
```
